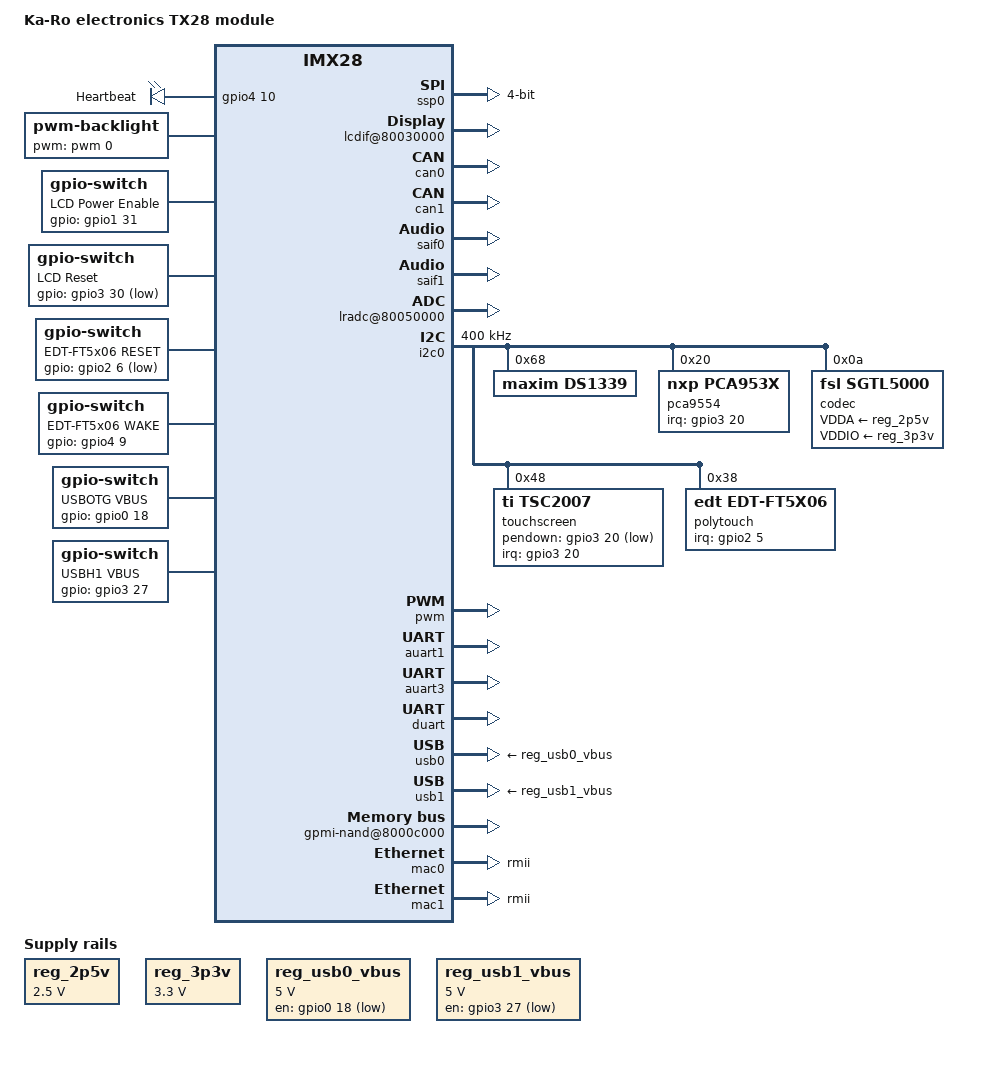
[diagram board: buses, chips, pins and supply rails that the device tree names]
/*
 * Copyright 2012 <LW@KARO-electronics.de>
 *
 * The code contained herein is licensed under the GNU General Public
 * License. You may obtain a copy of the GNU General Public License
 * Version 2 at the following locations:
 *
 * http://www.opensource.org/licenses/gpl-license.html
 * http://www.gnu.org/copyleft/gpl.html
 */

/dts-v1/;
#include "mx28.dtsi"

/ {
	model = "Ka-Ro electronics TX28 module";
	compatible = "karo,tx28", "fsl,imx28";

	aliases {
		usbphy0 = &usbphy0;
		usbphy1 = &usbphy1;
		usbotg = &usb0;
		usbh1 = &usb1;
		can1 = &can1;
		ethernet0 = &mac0;
		ethernet1 = &mac1;
		ds1339 = &ds1339;
		pca9554 = &pca9554;
		stk5led = &stk5_led;
	};

	memory {
		reg = <0 0>;
	};

	apb@80000000 {
		apbh@80000000 {
			ssp0: ssp@80010000 {
				compatible = "fsl,imx28-mmc";
				pinctrl-names = "default";
				pinctrl-0 = <&mmc0_4bit_pins_a
					     &mmc0_cd_cfg
					     &mmc0_sck_cfg>;
				bus-width = <4>;
				status = "okay";
			};

			pinctrl@80018000 {
				pinctrl-names = "default";
				pinctrl-0 = <&hog_pins_a>;

				hog_pins_a: hog-gpios@1 {
					reg = <0>;
					fsl,pinmux-ids = <
						0x31b3 /* MX28_PAD_SPDIF__GPIO_3_27 */
					>;
					fsl,drive-strength = <0>;
					fsl,voltage = <1>;
					fsl,pull-up = <0>;
				};

				hog_pins_stk_v3_led: hog-gpios@0 {
					reg = <0>;
					fsl,pinmux-ids = <
						0x40a3 /* MX28_PAD_ENET0_RXD3__GPIO_4_10 */
					>;
					fsl,drive-strength = <0>;
					fsl,voltage = <1>;
					fsl,pull-up = <0>;
				};

				mac0_pins_gpio: mac0-gpio-mode@0 {
					reg = <0>;
					fsl,pinmux-ids = <
						0x4003 /* MX28_PAD_ENET0_MDC__GPIO_4_0 */
						0x4013 /* MX28_PAD_ENET0_MDIO__GPIO_4_1 */
						0x4023 /* MX28_PAD_ENET0_RX_EN__GPIO_4_2 */
						0x4033 /* MX28_PAD_ENET0_RXD0__GPIO_4_3 */
						0x4043 /* MX28_PAD_ENET0_RXD1__GPIO_4_4 */
						0x4063 /* MX28_PAD_ENET0_TX_EN__GPIO_4_6 */
						0x4073 /* MX28_PAD_ENET0_TXD0__GPIO_4_7 */
						0x4083 /* MX28_PAD_ENET0_TXD1__GPIO_4_8 */
						0x4103 /* MX28_PAD_ENET_CLK__GPIO_4_16 */
					>;
					fsl,drive-strength = <0>;
					fsl,voltage = <1>;
					fsl,pull-up = <0>;
				};

				lcdif_pins_tx28: lcdif-tx28@0 {
					fsl,pinmux-ids = <
						0x1181 /* MX28_PAD_LCD_RD_E__LCD_VSYNC */
						0x1191 /* MX28_PAD_LCD_WR_RWN__LCD_HSYNC */
						0x11a1 /* MX28_PAD_LCD_RS__LCD_DOTCLK */
						0x11b1 /* MX28_PAD_LCD_CS__LCD_ENABLE */
					>;
					fsl,drive-strength = <0>;
					fsl,voltage = <1>;
					fsl,pull-up = <0>;
				};
			};

			lcdif@80030000 {
				status = "okay";

                                pinctrl-names = "default";
                                pinctrl-0 = <&lcdif_24bit_pins_a
                                             &lcdif_pins_tx28>;
			};

			can0: can@80032000 {
				status = "okay";

				pinctrl-names = "default";
				pinctrl-0 = <&can0_pins_a>;
				transceiver-switch = <&flexcan_transceiver>;
			};

			can1: can@80034000 {
				status = "okay";

				pinctrl-names = "default";
				pinctrl-0 = <&can1_pins_a>;
				transceiver-switch = <&flexcan_transceiver>;
			};
		};

		apbx@80040000 {
			saif0: saif@80042000 {
				status = "okay";

				pinctrl-names = "default";
				pinctrl-0 = <&saif0_pins_a>;
			};

			saif1: saif@80046000 {
				status = "okay";

				pinctrl-names = "default";
				pinctrl-0 = <&saif1_pins_a>;
				fsl,saif-master = <&saif0>;
			};

			lradc@80050000 {
				status = "okay";
			};

			i2c0: i2c@80058000 {
				status = "okay";

				clock-frequency = <400000>;
				pinctrl-names = "default";
				pinctrl-0 = <&i2c0_pins_a>;

				ds1339: rtc@68 {
					compatible = "maxim,ds1339";
					reg = <0x68>;
				};

				pca9554: pca953x@20 {
					compatible = "nxp,pca953x";
					reg = <0x20>;
					interrupt-parent = <&gpio3>;
					interrupts = <20>;
				};

				codec: sgtl5000@0a {
					compatible = "fsl,sgtl5000";
					reg = <0x0a>;
					VDDA-supply = <&reg_2p5v>;
					VDDIO-supply = <&reg_3p3v>;
				};

				touchscreen: tsc2007@48 {
					compatible = "ti,tsc2007";
					reg = <0x48>;
					interrupt-parent = <&gpio3>;
					interrupts = <20 0>;
					pendown-gpio = <&gpio3 20 1>;
					model = "2007";
					x-plate-ohms = <660>;
				};

				polytouch: edt-ft5x06@ {
					compatible = "edt,edt-ft5x06";
					reg = <0x38>;
					interrupt-parent = <&gpio2>;
					interrupts = <5>;
					reset-switch = <&edt_ft5x06_reset>;
					wake-switch = <&edt_ft5x06_wake>;
				};
			};

			pwm: pwm@80064000 {
				status = "okay";

				pinctrl-names = "default";
				pinctrl-0 = <&pwm0_pins_a>;
			};

			auart1: serial@8006c000 {
				status = "okay";

				pinctrl-names = "default";
				pinctrl-0 = <&auart1_pins_a>;
			};

			auart3: serial@80070000 {
				status = "okay";

				pinctrl-names = "default";
				pinctrl-0 = <&auart3_pins_a>;
			};

			duart: serial@80074000 {
				status = "okay";

				pinctrl-names = "default";
				pinctrl-0 = <&duart_4pins_a>;
			};

			usbphy0: usbphy@8007c000 {
				status = "okay";
			};

			usbphy1: usbphy@8007e000 {
				status = "okay";
			};
		};
	};

	ahb@80080000 {
		usb0: usb@80080000 {
			status = "okay";

                        vbus-supply = <&reg_usb0_vbus>;
                        pinctrl-names = "default";
		};

		usb1: usb@80090000 {
			status = "okay";

                        vbus-supply = <&reg_usb1_vbus>;
                        pinctrl-names = "default";
		};

		gpmi-nand@8000c000 {
			status = "okay";

			pinctrl-names = "default";
			pinctrl-0 = <&gpmi_pins_a>;
		};

		mac0: ethernet@800f0000 {
			phy-mode = "rmii";
			pinctrl-names = "default";
			pinctrl-0 = <&mac0_pins_a>;
			status = "okay";
			mac-address = [000000000000]; /* will be set bootloader */
		};

		mac1: ethernet@800f4000 {
			phy-mode = "rmii";
			pinctrl-names = "default";
			pinctrl-0 = <&mac1_pins_a>;
			status = "okay";
			mac-address = [000000000000]; /* will be set by bootloader */
		};
	};

	stk5_led: leds {
		compatible = "gpio-leds";

		user {
			label = "Heartbeat";
			pinctrl-names = "default";
			pinctrl-0 = <&hog_pins_stk_v3_led>;
			gpios = <&gpio4 10 0>;
			linux,default-trigger = "heartbeat";
		};
	};

	backlight {
		compatible = "pwm-backlight";
		pwms = <&pwm 0 5000000>;
		brightness-levels = <100 95 90 85 80 75 70 65 60 55
				      50 45 40 35 30 25 20 15 10 5 0>;
		default-brightness-level = <20>;
	};

	gpio-switch {
		compatible = "gpio-switches", "simple-bus";
		#address-cells = <1>;
		#size-cells = <0>;

		flexcan_transceiver: gpio-switch@0 {
			label = "flexcan transceiver switch";
			gpios = <&gpio1 0 1>;
			gpio-shared;
		};

		lcd_power: gpio-switch@1 {
			compatible = "linux,gpio-switch";
			gpios = <&gpio1 31 0>;
			label = "LCD Power Enable";
			init-state = <0>;
		};

		lcd_reset: gpio-switch@2 {
			compatible = "linux,gpio-switch";
			gpios = <&gpio3 30 1>;
			label = "LCD Reset";
			init-state = <1>;
		};

		edt_ft5x06_reset: gpio-switch@3 {
			compatible = "linux,gpio-switch";
			gpios = <&gpio2 6 1>;
			label = "EDT-FT5x06 RESET";
		};

		edt_ft5x06_wake: gpio-switch@4 {
			compatible = "linux,gpio-switch";
			gpios = <&gpio4 9 0>;
			label = "EDT-FT5x06 WAKE";
			init-state = <1>;
		};

		usbotg_vbus: gpio-switch@5 {
			compatible = "linux,gpio-switch";
			gpios = <&gpio0 18 0>;
			label = "USBOTG VBUS";
		};

		usbh1_vbus: gpio-switch@6 {
			compatible = "linux,gpio-switch";
			gpios = <&gpio3 27 0>;
			label = "USBH1 VBUS";
		};
	};

	regulators {
		compatible = "simple-bus";

		reg_2p5v: 2p5v {
			compatible = "regulator-fixed";
			regulator-name = "2P5V";
			regulator-min-microvolt = <2500000>;
			regulator-max-microvolt = <2500000>;
			regulator-always-on;
		};

		reg_3p3v: 3p3v {
			compatible = "regulator-fixed";
			regulator-name = "3P3V";
			regulator-min-microvolt = <3300000>;
			regulator-max-microvolt = <3300000>;
			regulator-always-on;
		};

                reg_usb0_vbus: usb0_vbus {
                        compatible = "regulator-fixed";
                        regulator-name = "usb0_vbus";
                        regulator-min-microvolt = <5000000>;
                        regulator-max-microvolt = <5000000>;
                        gpio = <&gpio0 18 1>;
                };

                reg_usb1_vbus: usb1_vbus {
                        compatible = "regulator-fixed";
                        regulator-name = "usb1_vbus";
                        regulator-min-microvolt = <5000000>;
                        regulator-max-microvolt = <5000000>;
                        gpio = <&gpio3 27 1>;
                };
	};
};
